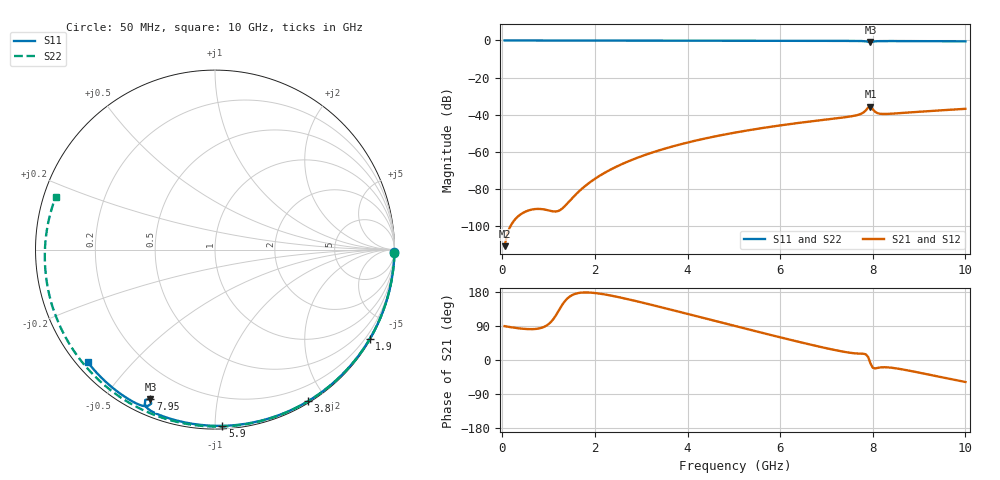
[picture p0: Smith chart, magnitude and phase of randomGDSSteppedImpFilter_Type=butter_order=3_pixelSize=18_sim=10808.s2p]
! freq	dB(S11)	phase(S11)	dB(S12)	phase(S12)
!  dB(S21)	phase(S21)	dB(S22)	phase(S22)
!S-par simulation data
#  GHz  S  DB  R 50
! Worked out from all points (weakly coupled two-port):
!   200 points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, 50 MHz to 10 GHz, reference 50 ohm
!   highest |S21| = -35.58 dB at 7.95 GHz (marker M1); lowest = -110.7 dB at 50 MHz (marker M2)
!   lowest |S11| = -0.9 dB at 7.95 GHz (marker M3), VSWR 20.31, Z = 3.52 - j32.7 ohm
!   |S11| at or under -10 dB: nowhere
!   |S22| runs from -0.6 to 0.0 dB; largest |S21 - S12| = 0
!   S11 on the Smith chart (normalised r, x): 50 MHz: open; 1.9 GHz: 0.03, -3.73; 3.8 GHz: 0.02, -1.79; 5.9 GHz: 0.02, -1.04; 7.95 GHz: 0.07, -0.65; 10 GHz: 0.03, -0.38
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0.05  -0.00 -0.8  -110.70 89.3  -110.70 89.3  -0.00 -1.2
0.85  -0.02 -13.6  -90.75 85.0  -90.75 85.0  -0.03 -20.0
1.7  -0.03 -26.9  -80.21 177.7  -80.21 177.7  -0.05 -39.5
1.75  -0.04 -27.7  -79.13 178.2  -79.13 178.2  -0.05 -40.6
1.9  -0.04 -30.0  -76.19 177.9  -76.19 177.9  -0.06 -44.0
2.2  -0.04 -34.6  -71.37 173.3  -71.37 173.3  -0.06 -50.6
2.55  -0.05 -39.9  -66.91 164.9  -66.91 164.9  -0.07 -58.3
3.4  -0.07 -52.6  -59.03 140.2  -59.03 140.2  -0.10 -76.2
3.8  -0.08 -58.5  -56.20 127.8  -56.20 127.8  -0.11 -84.3
4.4  -0.10 -67.1  -52.64 109.1  -52.64 109.1  -0.13 -96.1
5.05  -0.12 -76.1  -49.46 88.9  -49.46 88.9  -0.16 -108.4
5.9  -0.15 -87.6  -46.07 62.9  -46.07 62.9  -0.21 -124.0
6.7  -0.19 -98.1  -43.44 39.3  -43.44 39.3  -0.26 -138.3
7.65  -0.28 -110.8  -40.25 17.2  -40.25 17.2  -0.33 -155.1
7.8  -0.37 -113.4  -38.72 16.5  -38.72 16.5  -0.35 -157.7
7.9  -0.70 -114.9  -36.11 7.8  -36.11 7.8  -0.36 -159.4
7.95  -0.86 -113.4  -35.58 -8.8  -35.58 -8.8  -0.35 -160.3
8.05  -0.47 -113.2  -38.40 -22.2  -38.40 -22.2  -0.36 -162.1
8.1  -0.40 -114.1  -39.10 -21.0  -39.10 -21.0  -0.37 -163.0
8.35  -0.33 -117.9  -39.49 -19.7  -39.49 -19.7  -0.40 -167.5
9.2  -0.39 -128.7  -38.04 -38.2  -38.04 -38.2  -0.49 177.0
10  -0.47 -138.4  -36.79 -58.1  -36.79 -58.1  -0.58 161.7
